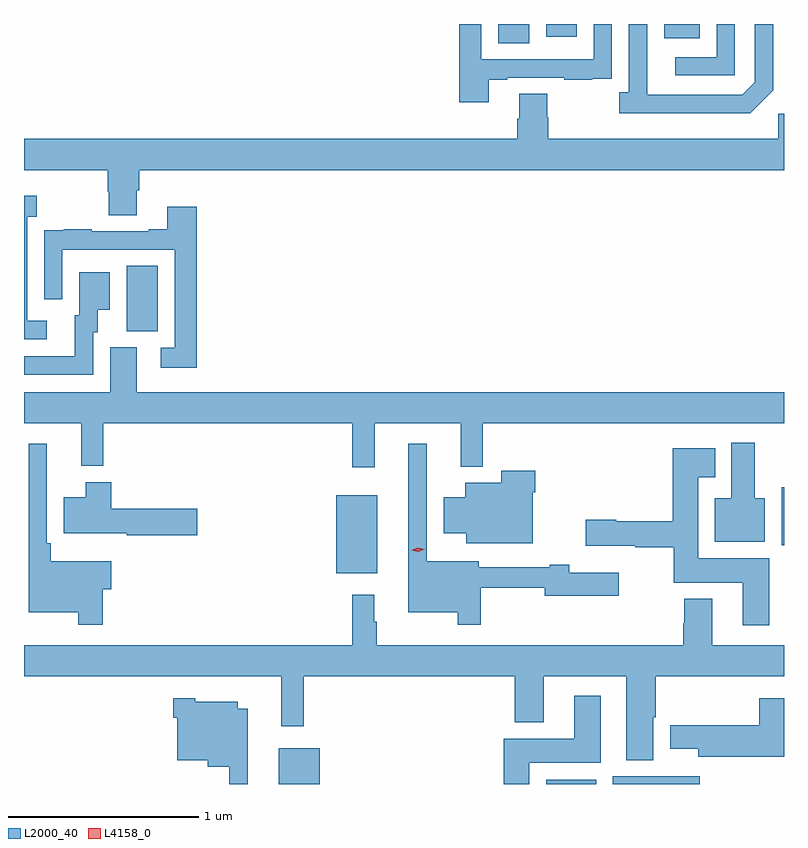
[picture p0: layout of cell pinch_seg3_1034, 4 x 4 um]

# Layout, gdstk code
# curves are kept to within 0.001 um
import gdstk
lib = gdstk.Library(unit=1e-6, precision=1e-09)
def R(c, l, rs):  # rectangles x0, y0, x1, y1
    for r in rs: c.add(gdstk.rectangle(r[:2], r[2:], *l))
def P(c, l, *ps):  # polygons
    for p in ps: c.add(gdstk.Polygon(p, *l))
L2000_40 = (2000, 40)
L4158_0 = (4158, 0)

pinch_seg3_1034 = lib.new_cell('pinch_seg3_1034')
R(pinch_seg3_1034, L2000_40, [(337.991,695.021,338.206,695.209), (339.398,695.021,339.661,695.044), (339.749,695.021,340.207,695.062), (338.294,696.131,338.509,696.541), (340.637,696.278,340.65,696.583), (337.19,697.405,337.354,697.748), (339.146,698.92,339.31,699.021), (340.019,698.945,340.207,699.021), (339.398,698.955,339.559,699.021)])
P(pinch_seg3_1034, L2000_40, [(340.593,698.673),(340.593,699.021),(340.497,699.021),(340.497,698.715),(340.431,698.649),(339.931,698.649),(339.93,699.021),(339.834,699.021),(339.834,698.662),(339.783,698.662),(339.783,698.552),(340.472,698.552)],
  [(339.097,698.727),(339.193,698.727),(339.193,698.739),(339.493,698.739),(339.493,698.727),(339.641,698.727),(339.641,698.733),(339.743,698.733),(339.743,698.842),(339.744,698.842),(339.744,699.021),(339.648,699.021),(339.648,698.835),(339.057,698.835),(339.057,699.021),(338.941,699.021),(338.941,698.61),(339.097,698.61)],
  [(340.392,699.021),(340.296,699.021),(340.296,698.847),(340.077,698.847),(340.077,698.751),(340.392,698.751)],
  [(340.65,698.548),(340.62,698.548),(340.62,698.416),(339.41,698.416),(339.41,698.529),(339.405,698.529),(339.405,698.654),(339.257,698.654),(339.257,698.522),(339.245,698.522),(339.245,698.416),(336.65,698.416),(336.65,698.252),(337.091,698.252),(337.091,698.139),(337.096,698.139),(337.096,698.014),(337.243,698.014),(337.243,698.146),(337.256,698.146),(337.256,698.252),(340.65,698.252)],
  [(336.769,697.458),(336.666,697.458),(336.666,698.006),(336.718,698.006),(336.718,698.116),(336.65,698.116),(336.65,697.362),(336.769,697.362)],
  [(337.559,698.059),(337.403,698.059),(337.403,697.942),(337.307,697.942),(337.307,697.929),(337.007,697.929),(337.007,697.942),(336.859,697.942),(336.859,697.935),(336.757,697.935),(336.757,697.826),(336.756,697.826),(336.756,697.572),(336.852,697.572),(336.852,697.833),(337.443,697.833),(337.443,697.317),(337.371,697.317),(337.371,697.212),(337.559,697.212)],
  [(337.014,697.398),(337.039,697.398),(337.039,697.517),(337.102,697.517),(337.102,697.714),(336.941,697.714),(336.941,697.488),(336.917,697.488),(336.917,697.272),(336.65,697.272),(336.65,697.176),(337.014,697.176)],
  [(338.495,696.92),(338.948,696.92),(338.948,696.692),(339.065,696.692),(339.065,696.92),(340.65,696.92),(340.65,697.084),(337.243,697.084),(337.243,697.32),(337.103,697.32),(337.103,697.084),(336.65,697.084),(336.65,696.92),(336.95,696.92),(336.95,696.695),(337.067,696.695),(337.067,696.92),(338.377,696.92),(338.377,696.687),(338.495,696.687)],
  [(340.549,696.526),(340.495,696.526),(340.495,696.817),(340.373,696.817),(340.373,696.526),(340.286,696.526),(340.286,696.296),(340.549,696.296)],
  [(339.055,696.054),(339.392,696.054),(339.392,696.011),(339.781,696.011),(339.781,696.133),(339.52,696.133),(339.52,696.175),(339.416,696.175),(339.416,696.162),(339.043,696.162),(339.043,696.193),(338.769,696.193),(338.769,696.811),(338.672,696.811),(338.672,695.924),(338.934,695.924),(338.934,695.859),(339.055,695.859)],
  [(337.064,696.046),(337.108,696.046),(337.108,696.193),(336.791,696.193),(336.791,696.289),(336.771,696.289),(336.771,696.811),(336.674,696.811),(336.674,695.924),(336.936,695.924),(336.936,695.859),(337.064,695.859)],
  [(340.573,696.208),(340.198,696.208),(340.198,696.635),(340.288,696.635),(340.288,696.787),(340.064,696.787),(340.064,696.404),(339.768,696.404),(339.768,696.412),(339.606,696.412),(339.606,696.275),(339.868,696.275),(339.868,696.268),(340.069,696.268),(340.069,696.08),(340.433,696.08),(340.433,695.856),(340.573,695.856)],
  [(339.328,696.557),(339.341,696.557),(339.341,696.67),(339.163,696.67),(339.163,696.607),(338.972,696.607),(338.972,696.529),(338.858,696.529),(338.858,696.341),(338.978,696.341),(338.978,696.287),(339.328,696.287)],
  [(337.561,696.471),(337.109,696.471),(337.109,696.61),(336.974,696.61),(336.974,696.529),(336.86,696.529),(336.86,696.341),(337.192,696.341),(337.192,696.329),(337.561,696.329)],
  [(339.961,695.373),(339.974,695.373),(339.974,695.588),(340.65,695.588),(340.65,695.752),(340.273,695.752),(340.273,695.995),(340.126,695.995),(340.126,695.868),(340.121,695.868),(340.121,695.752),(338.506,695.752),(338.506,695.876),(338.494,695.876),(338.494,696.016),(338.377,696.016),(338.377,695.752),(336.65,695.752),(336.65,695.588),(338.005,695.588),(338.005,695.325),(338.123,695.325),(338.123,695.588),(339.233,695.588),(339.233,695.345),(339.385,695.345),(339.385,695.588),(339.821,695.588),(339.821,695.147),(339.961,695.147)],
  [(339.31,695.132),(339.685,695.132),(339.685,695.485),(339.545,695.485),(339.545,695.26),(339.176,695.26),(339.176,695.021),(339.31,695.021)],
  [(337.828,695.416),(337.774,695.416),(337.774,695.455),(337.551,695.455),(337.551,695.473),(337.436,695.473),(337.436,695.369),(337.457,695.369),(337.457,695.147),(337.616,695.147),(337.616,695.111),(337.731,695.111),(337.731,695.021),(337.828,695.021)],
  [(340.65,695.473),(340.52,695.473),(340.52,695.329),(340.05,695.329),(340.05,695.207),(340.199,695.207),(340.199,695.165),(340.65,695.165)])
P(pinch_seg3_1034, L4158_0, [(338.724,696.244),(338.688,696.252),(338.688,696.252),(338.688,696.252),(338.723,696.264),(338.759,696.257),(338.759,696.256),(338.759,696.256)])

lib.write_gds('pinch_seg3_1034.gds')
